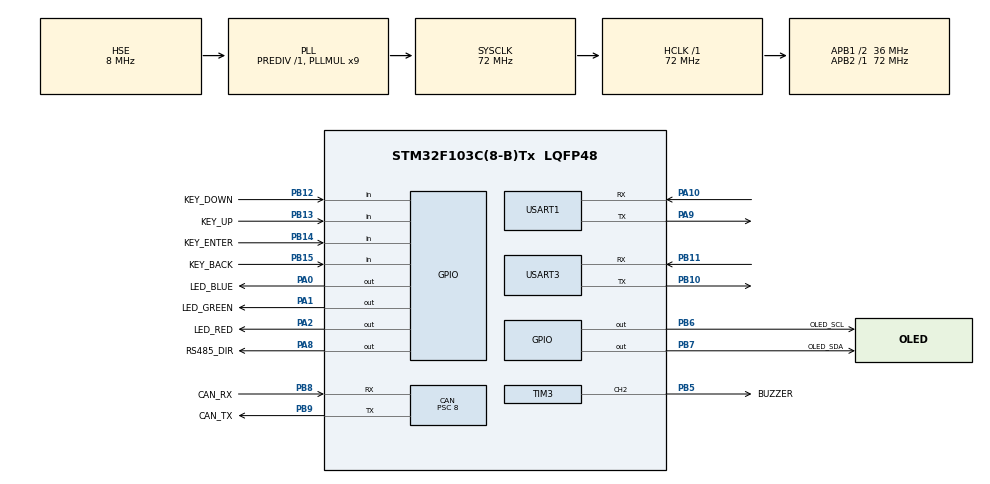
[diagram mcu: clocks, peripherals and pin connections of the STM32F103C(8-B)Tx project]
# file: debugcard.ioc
# Core/Src/main.c:
# @Copyright:  Copyright  (C)  2021-2024 东莞市本末科技有限公司
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CAN.BS1=CAN_BS1_4TQ
CAN.BS2=CAN_BS2_4TQ
CAN.CalculateBaudRate=500000
CAN.CalculateTimeBit=2000
CAN.CalculateTimeQuantum=222.22222222222223
CAN.Prescaler=8
CAN.SJW=CAN_SJW_1TQ
Mcu.Family=STM32F1
Mcu.Name=STM32F103C(8-B)Tx
Mcu.Package=LQFP48
NVIC.PriorityGroup=NVIC_PRIORITYGROUP_4
NVIC.USART1_IRQn=true\:1\:0\:true\:false\:true\:true\:true\:true
NVIC.USART3_IRQn=true\:1\:0\:true\:false\:true\:true\:true\:true
NVIC.USB_LP_CAN1_RX0_IRQn=true\:2\:0\:true\:false\:true\:true\:true\:true
PA0-WKUP.GPIO_Label=LED_BLUE
PA0-WKUP.GPIO_ModeDefaultOutputPP=GPIO_MODE_OUTPUT_OD
PA0-WKUP.GPIO_PuPd=GPIO_PULLUP
PA0-WKUP.PinState=GPIO_PIN_SET
PA0-WKUP.Signal=GPIO_Output
PA1.GPIO_Label=LED_GREEN
PA1.GPIO_ModeDefaultOutputPP=GPIO_MODE_OUTPUT_OD
PA1.GPIO_PuPd=GPIO_PULLUP
PA1.PinState=GPIO_PIN_SET
PA1.Signal=GPIO_Output
PA10.GPIO_PuPd=GPIO_PULLUP
PA10.Mode=Asynchronous
PA10.Signal=USART1_RX
PA13.Mode=Serial_Wire
PA13.Signal=SYS_JTMS-SWDIO
PA14.Mode=Serial_Wire
PA14.Signal=SYS_JTCK-SWCLK
PA2.GPIO_Label=LED_RED
PA2.GPIO_ModeDefaultOutputPP=GPIO_MODE_OUTPUT_OD
PA2.GPIO_PuPd=GPIO_PULLUP
PA2.PinState=GPIO_PIN_SET
PA2.Signal=GPIO_Output
PA8.GPIO_Label=RS485_DIR
PA8.GPIO_Speed=GPIO_SPEED_FREQ_HIGH
PA8.Signal=GPIO_Output
PA9.Mode=Asynchronous
PA9.Signal=USART1_TX
PB10.Mode=Asynchronous
PB10.Signal=USART3_TX
PB11.Mode=Asynchronous
PB11.Signal=USART3_RX
PB12.GPIO_Label=KEY_DOWN
PB12.GPIO_Mode=GPIO_MODE_INPUT
PB12.GPIO_PuPd=GPIO_PULLUP
PB12.Signal=GPIO_Input
PB13.GPIO_Label=KEY_UP
PB13.GPIO_PuPd=GPIO_PULLUP
PB13.Signal=GPIO_Input
PB14.GPIO_Label=KEY_ENTER
PB14.GPIO_PuPd=GPIO_PULLUP
PB14.Signal=GPIO_Input
PB15.GPIO_Label=KEY_BACK
PB15.GPIO_PuPd=GPIO_PULLUP
PB15.Signal=GPIO_Input
PB5.GPIO_Label=BUZZER
PB5.GPIO_Speed=GPIO_SPEED_FREQ_HIGH
PB5.Signal=S_TIM3_CH2
PB6.GPIO_Label=OLED_SCL
PB6.GPIO_ModeDefaultOutputPP=GPIO_MODE_OUTPUT_OD
PB6.GPIO_PuPd=GPIO_PULLUP
PB6.GPIO_Speed=GPIO_SPEED_FREQ_HIGH
PB6.Signal=GPIO_Output
PB7.GPIO_Label=OLED_SDA
PB7.GPIO_ModeDefaultOutputPP=GPIO_MODE_OUTPUT_OD
PB7.GPIO_PuPd=GPIO_PULLUP
PB7.GPIO_Speed=GPIO_SPEED_FREQ_HIGH
PB7.Signal=GPIO_Output
PB8.GPIO_Label=CAN_RX
PB8.Mode=CAN_Activate
PB8.Signal=CAN_RX
PB9.GPIO_Label=CAN_TX
PB9.Mode=CAN_Activate
PB9.Signal=CAN_TX
PD0-OSC_IN.Mode=HSE-External-Oscillator
PD0-OSC_IN.Signal=RCC_OSC_IN
PD1-OSC_OUT.Mode=HSE-External-Oscillator
PD1-OSC_OUT.Signal=RCC_OSC_OUT
ProjectManager.HeapSize=0x400
ProjectManager.StackSize=0x800
ProjectManager.TargetToolchain=Makefile
RCC.AHBFreq_Value=72000000
RCC.APB1CLKDivider=RCC_HCLK_DIV2
RCC.APB1Freq_Value=36000000
RCC.APB1TimFreq_Value=72000000
RCC.APB2Freq_Value=72000000
RCC.APB2TimFreq_Value=72000000
RCC.HCLKFreq_Value=72000000
RCC.PLLMUL=RCC_PLL_MUL9
RCC.PLLSourceVirtual=RCC_PLLSOURCE_HSE
RCC.SYSCLKFreq_VALUE=72000000
RCC.SYSCLKSource=RCC_SYSCLKSOURCE_PLLCLK
RCC.USBFreq_Value=72000000
SH.S_TIM3_CH2.0=TIM3_CH2,PWM Generation2 CH2
TIM3.AutoReloadPreload=TIM_AUTORELOAD_PRELOAD_ENABLE
TIM3.Channel-PWM\ Generation2\ CH2=TIM_CHANNEL_2
TIM3.Period=499
TIM3.Prescaler=71
USART1.VirtualMode=VM_ASYNC
USART3.VirtualMode=VM_ASYNC
board=custom

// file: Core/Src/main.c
/* USER CODE BEGIN Header */
/**
 * ******************************************************************************
 * @Copyright:  Copyright  (C)  2021-2024 ��ݸ�б�ĩ�Ƽ����޹�˾
 * @file 	: main.c
 * ******************************************************************************
 * @brief 	: initialize peripherals, initialize motor equipment
 * @version	: 2.0
 * @date 	: 2024-08-01
 * @note 	:  Register task functions to the schedule list, initialize various devices
 *             and all callback functions are executed in keystroke callbacks
 * *
 * *
 * ******* 1. Improvement *********
 * * 1. improvement the function :
 * *
 * * 2. improvement the function :
 * *
 * *
 * ******* 2. Fix the bug *********
 * * 1. fix the bug of :
 * *
 * *
 * ******* 3. HOW TO USE *********
 * * 0. Include this file into your current project.
 * * 1. include the header file where needed.
 * * 2. Modify the macro definitions and enums in 'header file.h'.
 * * 3. change the resources in 'files name.c':
 * * 4. Registers the device by calling the provided function using a callback.
 * * 5. Use the pointer to get the operation handle and use the device.
 * *
 * ******************************************************************************
 */
/* USER CODE END Header */
#include "main.h"
#include "can.h"
#include "tim.h"
#include "usart.h"
#include "gpio.h"

/* USER CODE BEGIN Includes */
#include "task_buzzer.h"
#include "task_key.h"
#include "task_led.h"
#include "task_menu.h"
#include "task_motor_can.h"
#include "task_motor_uart.h"

/* USER CODE END Includes */

void SystemClock_Config(void);
/* USER CODE BEGIN PFP */
void can_filter_init(void)
{
    CAN_FilterTypeDef can_filter_st;
    can_filter_st.FilterActivation = ENABLE;
    can_filter_st.FilterMode = CAN_FILTERMODE_IDMASK;
    can_filter_st.FilterScale = CAN_FILTERSCALE_32BIT;
    can_filter_st.FilterIdHigh = 0x0000;
    can_filter_st.FilterIdLow = 0x0000;
    can_filter_st.FilterMaskIdHigh = 0x0000;
    can_filter_st.FilterMaskIdLow = 0x0000;
    can_filter_st.FilterBank = 0;
    can_filter_st.FilterFIFOAssignment = CAN_RX_FIFO0;

    HAL_CAN_ConfigFilter(&hcan, &can_filter_st);
    HAL_CAN_ActivateNotification(&hcan, CAN_IT_RX_FIFO0_MSG_PENDING);
    HAL_CAN_Start(&hcan);
}

/* USER CODE END PFP */

int main(void)
{

  /* MCU Configuration--------------------------------------------------------*/

  /* Reset of all peripherals, Initializes the Flash interface and the Systick. */
  HAL_Init();

  /* Configure the system clock */
  SystemClock_Config();

  /* Initialize all configured peripherals */
  MX_GPIO_Init();
  MX_USART1_UART_Init();
  MX_USART3_UART_Init();
  MX_CAN_Init();
  MX_TIM3_Init();
  /* USER CODE BEGIN 2 */

    // can1 config
    can_filter_init();

  /* USER CODE END 2 */

  /* Infinite loop */
  /* USER CODE BEGIN WHILE */

    // task register
    schedule_register(mytask_led_entry, 100);
    schedule_register(mytask_key_entry, 30);
    schedule_register(mytask_menu_entry, 200);
    schedule_register(mytask_uart_entry, 200);
    schedule_register(mytask_can_entry, 200);
    schedule_register(mytask_buzzer_entry, 500);

    while (1)
    {
        // open the task scheduler
        schedule_start();
    /* USER CODE END WHILE */

    }
}

void SystemClock_Config(void)
{
  RCC_OscInitTypeDef RCC_OscInitStruct = {0};
  RCC_ClkInitTypeDef RCC_ClkInitStruct = {0};

  /** Initializes the RCC Oscillators according to the specified parameters
  * in the RCC_OscInitTypeDef structure.
  */
  RCC_OscInitStruct.OscillatorType = RCC_OSCILLATORTYPE_HSE;
  RCC_OscInitStruct.HSEState = RCC_HSE_ON;
  RCC_OscInitStruct.HSEPredivValue = RCC_HSE_PREDIV_DIV1;
  RCC_OscInitStruct.HSIState = RCC_HSI_ON;
  RCC_OscInitStruct.PLL.PLLState = RCC_PLL_ON;
  RCC_OscInitStruct.PLL.PLLSource = RCC_PLLSOURCE_HSE;
  RCC_OscInitStruct.PLL.PLLMUL = RCC_PLL_MUL9;
  if (HAL_RCC_OscConfig(&RCC_OscInitStruct) != HAL_OK)
  {
    Error_Handler();
  }

  /** Initializes the CPU, AHB and APB buses clocks
  */
  RCC_ClkInitStruct.ClockType = RCC_CLOCKTYPE_HCLK|RCC_CLOCKTYPE_SYSCLK
                              |RCC_CLOCKTYPE_PCLK1|RCC_CLOCKTYPE_PCLK2;
  RCC_ClkInitStruct.SYSCLKSource = RCC_SYSCLKSOURCE_PLLCLK;
  RCC_ClkInitStruct.AHBCLKDivider = RCC_SYSCLK_DIV1;
  RCC_ClkInitStruct.APB1CLKDivider = RCC_HCLK_DIV2;
  RCC_ClkInitStruct.APB2CLKDivider = RCC_HCLK_DIV1;

  if (HAL_RCC_ClockConfig(&RCC_ClkInitStruct, FLASH_LATENCY_2) != HAL_OK)
  {
    Error_Handler();
  }
}

void Error_Handler(void)
{
    __disable_irq();
    while (1)
    {
    }
}
